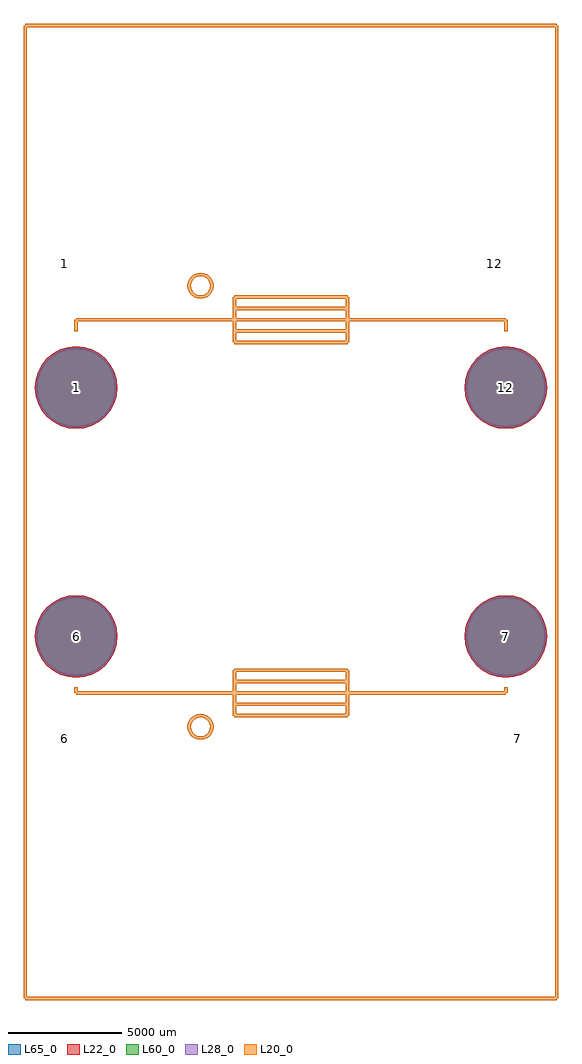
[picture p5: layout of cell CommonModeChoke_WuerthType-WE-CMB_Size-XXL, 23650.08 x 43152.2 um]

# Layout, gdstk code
import gdstk
lib = gdstk.Library(unit=1e-6, precision=1e-09)
def P(c, l, *ps):  # polygons
    for p in ps: c.add(gdstk.Polygon(p, *l))
L20_0 = (20, 0)
L22_0 = (22, 0)
L28_0 = (28, 0)
L60_0 = (60, 0)
L65_0 = (65, 0)

commonmodechoke_wuerthty = lib.new_cell('CommonModeChoke_WuerthType-WE-CMB_Size-XXL')
P(commonmodechoke_wuerthty, L22_0, [(-7674.54,5499.1),(-7709.608,5855.152),(-7813.464,6197.52),(-7982.118,6513.049),(-8209.088,6789.612),(-8485.651,7016.582),(-8801.18,7185.236),(-9143.548,7289.092),(-9499.6,7324.16),(-9855.652,7289.092),(-10198.02,7185.236),(-10513.549,7016.582),(-10790.112,6789.612),(-11017.082,6513.049),(-11185.736,6197.52),(-11289.592,5855.152),(-11324.66,5499.1),(-11289.592,5143.048),(-11185.736,4800.68),(-11017.082,4485.151),(-10790.112,4208.588),(-10513.549,3981.618),(-10198.02,3812.964),(-9855.652,3709.108),(-9499.6,3674.04),(-9143.548,3709.108),(-8801.18,3812.964),(-8485.651,3981.618),(-8209.088,4208.588),(-7982.118,4485.151),(-7813.464,4800.68),(-7709.608,5143.048)],
  [(11324.66,5499.1),(11289.592,5855.152),(11185.736,6197.52),(11017.082,6513.049),(10790.112,6789.612),(10513.549,7016.582),(10198.02,7185.236),(9855.652,7289.092),(9499.6,7324.16),(9143.548,7289.092),(8801.18,7185.236),(8485.651,7016.582),(8209.088,6789.612),(7982.118,6513.049),(7813.464,6197.52),(7709.608,5855.152),(7674.54,5499.1),(7709.608,5143.048),(7813.464,4800.68),(7982.118,4485.151),(8209.088,4208.588),(8485.651,3981.618),(8801.18,3812.964),(9143.548,3709.108),(9499.6,3674.04),(9855.652,3709.108),(10198.02,3812.964),(10513.549,3981.618),(10790.112,4208.588),(11017.082,4485.151),(11185.736,4800.68),(11289.592,5143.048)],
  [(11324.66,-5499.1),(11289.592,-5143.048),(11185.736,-4800.68),(11017.082,-4485.151),(10790.112,-4208.588),(10513.549,-3981.618),(10198.02,-3812.964),(9855.652,-3709.108),(9499.6,-3674.04),(9143.548,-3709.108),(8801.18,-3812.964),(8485.651,-3981.618),(8209.088,-4208.588),(7982.118,-4485.151),(7813.464,-4800.68),(7709.608,-5143.048),(7674.54,-5499.1),(7709.608,-5855.152),(7813.464,-6197.52),(7982.118,-6513.049),(8209.088,-6789.612),(8485.651,-7016.582),(8801.18,-7185.236),(9143.548,-7289.092),(9499.6,-7324.16),(9855.652,-7289.092),(10198.02,-7185.236),(10513.549,-7016.582),(10790.112,-6789.612),(11017.082,-6513.049),(11185.736,-6197.52),(11289.592,-5855.152)],
  [(-7674.54,-5499.1),(-7709.608,-5143.048),(-7813.464,-4800.68),(-7982.118,-4485.151),(-8209.088,-4208.588),(-8485.651,-3981.618),(-8801.18,-3812.964),(-9143.548,-3709.108),(-9499.6,-3674.04),(-9855.652,-3709.108),(-10198.02,-3812.964),(-10513.549,-3981.618),(-10790.112,-4208.588),(-11017.082,-4485.151),(-11185.736,-4800.68),(-11289.592,-5143.048),(-11324.66,-5499.1),(-11289.592,-5855.152),(-11185.736,-6197.52),(-11017.082,-6513.049),(-10790.112,-6789.612),(-10513.549,-7016.582),(-10198.02,-7185.236),(-9855.652,-7289.092),(-9499.6,-7324.16),(-9143.548,-7289.092),(-8801.18,-7185.236),(-8485.651,-7016.582),(-8209.088,-6789.612),(-7982.118,-6513.049),(-7813.464,-6197.52),(-7709.608,-5855.152)])
P(commonmodechoke_wuerthty, L28_0, [(-7749.54,5499.1),(-7783.167,5840.52),(-7882.755,6168.819),(-8044.478,6471.381),(-8262.121,6736.579),(-8527.319,6954.222),(-8829.881,7115.945),(-9158.18,7215.533),(-9499.6,7249.16),(-9841.02,7215.533),(-10169.319,7115.945),(-10471.881,6954.222),(-10737.079,6736.579),(-10954.722,6471.381),(-11116.445,6168.819),(-11216.033,5840.52),(-11249.66,5499.1),(-11216.033,5157.68),(-11116.445,4829.381),(-10954.722,4526.819),(-10737.079,4261.621),(-10471.881,4043.978),(-10169.319,3882.255),(-9841.02,3782.667),(-9499.6,3749.04),(-9158.18,3782.667),(-8829.881,3882.255),(-8527.319,4043.978),(-8262.121,4261.621),(-8044.478,4526.819),(-7882.755,4829.381),(-7783.167,5157.68)],
  [(11249.66,5499.1),(11216.033,5840.52),(11116.445,6168.819),(10954.722,6471.381),(10737.079,6736.579),(10471.881,6954.222),(10169.319,7115.945),(9841.02,7215.533),(9499.6,7249.16),(9158.18,7215.533),(8829.881,7115.945),(8527.319,6954.222),(8262.121,6736.579),(8044.478,6471.381),(7882.755,6168.819),(7783.167,5840.52),(7749.54,5499.1),(7783.167,5157.68),(7882.755,4829.381),(8044.478,4526.819),(8262.121,4261.621),(8527.319,4043.978),(8829.881,3882.255),(9158.18,3782.667),(9499.6,3749.04),(9841.02,3782.667),(10169.319,3882.255),(10471.881,4043.978),(10737.079,4261.621),(10954.722,4526.819),(11116.445,4829.381),(11216.033,5157.68)],
  [(11249.66,-5499.1),(11216.033,-5157.68),(11116.445,-4829.381),(10954.722,-4526.819),(10737.079,-4261.621),(10471.881,-4043.978),(10169.319,-3882.255),(9841.02,-3782.667),(9499.6,-3749.04),(9158.18,-3782.667),(8829.881,-3882.255),(8527.319,-4043.978),(8262.121,-4261.621),(8044.478,-4526.819),(7882.755,-4829.381),(7783.167,-5157.68),(7749.54,-5499.1),(7783.167,-5840.52),(7882.755,-6168.819),(8044.478,-6471.381),(8262.121,-6736.579),(8527.319,-6954.222),(8829.881,-7115.945),(9158.18,-7215.533),(9499.6,-7249.16),(9841.02,-7215.533),(10169.319,-7115.945),(10471.881,-6954.222),(10737.079,-6736.579),(10954.722,-6471.381),(11116.445,-6168.819),(11216.033,-5840.52)],
  [(-7749.54,-5499.1),(-7783.167,-5157.68),(-7882.755,-4829.381),(-8044.478,-4526.819),(-8262.121,-4261.621),(-8527.319,-4043.978),(-8829.881,-3882.255),(-9158.18,-3782.667),(-9499.6,-3749.04),(-9841.02,-3782.667),(-10169.319,-3882.255),(-10471.881,-4043.978),(-10737.079,-4261.621),(-10954.722,-4526.819),(-11116.445,-4829.381),(-11216.033,-5157.68),(-11249.66,-5499.1),(-11216.033,-5840.52),(-11116.445,-6168.819),(-10954.722,-6471.381),(-10737.079,-6736.579),(-10471.881,-6954.222),(-10169.319,-7115.945),(-9841.02,-7215.533),(-9499.6,-7249.16),(-9158.18,-7215.533),(-8829.881,-7115.945),(-8527.319,-6954.222),(-8262.121,-6736.579),(-8044.478,-6471.381),(-7882.755,-6168.819),(-7783.167,-5840.52)])
P(commonmodechoke_wuerthty, L60_0, [(-7749.54,5499.1),(-7783.167,5840.52),(-7882.755,6168.819),(-8044.478,6471.381),(-8262.121,6736.579),(-8527.319,6954.222),(-8829.881,7115.945),(-9158.18,7215.533),(-9499.6,7249.16),(-9841.02,7215.533),(-10169.319,7115.945),(-10471.881,6954.222),(-10737.079,6736.579),(-10954.722,6471.381),(-11116.445,6168.819),(-11216.033,5840.52),(-11249.66,5499.1),(-11216.033,5157.68),(-11116.445,4829.381),(-10954.722,4526.819),(-10737.079,4261.621),(-10471.881,4043.978),(-10169.319,3882.255),(-9841.02,3782.667),(-9499.6,3749.04),(-9158.18,3782.667),(-8829.881,3882.255),(-8527.319,4043.978),(-8262.121,4261.621),(-8044.478,4526.819),(-7882.755,4829.381),(-7783.167,5157.68)],
  [(11249.66,5499.1),(11216.033,5840.52),(11116.445,6168.819),(10954.722,6471.381),(10737.079,6736.579),(10471.881,6954.222),(10169.319,7115.945),(9841.02,7215.533),(9499.6,7249.16),(9158.18,7215.533),(8829.881,7115.945),(8527.319,6954.222),(8262.121,6736.579),(8044.478,6471.381),(7882.755,6168.819),(7783.167,5840.52),(7749.54,5499.1),(7783.167,5157.68),(7882.755,4829.381),(8044.478,4526.819),(8262.121,4261.621),(8527.319,4043.978),(8829.881,3882.255),(9158.18,3782.667),(9499.6,3749.04),(9841.02,3782.667),(10169.319,3882.255),(10471.881,4043.978),(10737.079,4261.621),(10954.722,4526.819),(11116.445,4829.381),(11216.033,5157.68)],
  [(11249.66,-5499.1),(11216.033,-5157.68),(11116.445,-4829.381),(10954.722,-4526.819),(10737.079,-4261.621),(10471.881,-4043.978),(10169.319,-3882.255),(9841.02,-3782.667),(9499.6,-3749.04),(9158.18,-3782.667),(8829.881,-3882.255),(8527.319,-4043.978),(8262.121,-4261.621),(8044.478,-4526.819),(7882.755,-4829.381),(7783.167,-5157.68),(7749.54,-5499.1),(7783.167,-5840.52),(7882.755,-6168.819),(8044.478,-6471.381),(8262.121,-6736.579),(8527.319,-6954.222),(8829.881,-7115.945),(9158.18,-7215.533),(9499.6,-7249.16),(9841.02,-7215.533),(10169.319,-7115.945),(10471.881,-6954.222),(10737.079,-6736.579),(10954.722,-6471.381),(11116.445,-6168.819),(11216.033,-5840.52)],
  [(-7749.54,-5499.1),(-7783.167,-5157.68),(-7882.755,-4829.381),(-8044.478,-4526.819),(-8262.121,-4261.621),(-8527.319,-4043.978),(-8829.881,-3882.255),(-9158.18,-3782.667),(-9499.6,-3749.04),(-9841.02,-3782.667),(-10169.319,-3882.255),(-10471.881,-4043.978),(-10737.079,-4261.621),(-10954.722,-4526.819),(-11116.445,-4829.381),(-11216.033,-5157.68),(-11249.66,-5499.1),(-11216.033,-5840.52),(-11116.445,-6168.819),(-10954.722,-6471.381),(-10737.079,-6736.579),(-10471.881,-6954.222),(-10169.319,-7115.945),(-9841.02,-7215.533),(-9499.6,-7249.16),(-9158.18,-7215.533),(-8829.881,-7115.945),(-8527.319,-6954.222),(-8262.121,-6736.579),(-8044.478,-6471.381),(-7882.755,-6168.819),(-7783.167,-5840.52)])
P(commonmodechoke_wuerthty, L65_0, [(-7674.54,5499.1),(-7709.608,5855.152),(-7813.464,6197.52),(-7982.118,6513.049),(-8209.088,6789.612),(-8485.651,7016.582),(-8801.18,7185.236),(-9143.548,7289.092),(-9499.6,7324.16),(-9855.652,7289.092),(-10198.02,7185.236),(-10513.549,7016.582),(-10790.112,6789.612),(-11017.082,6513.049),(-11185.736,6197.52),(-11289.592,5855.152),(-11324.66,5499.1),(-11289.592,5143.048),(-11185.736,4800.68),(-11017.082,4485.151),(-10790.112,4208.588),(-10513.549,3981.618),(-10198.02,3812.964),(-9855.652,3709.108),(-9499.6,3674.04),(-9143.548,3709.108),(-8801.18,3812.964),(-8485.651,3981.618),(-8209.088,4208.588),(-7982.118,4485.151),(-7813.464,4800.68),(-7709.608,5143.048)],
  [(11324.66,5499.1),(11289.592,5855.152),(11185.736,6197.52),(11017.082,6513.049),(10790.112,6789.612),(10513.549,7016.582),(10198.02,7185.236),(9855.652,7289.092),(9499.6,7324.16),(9143.548,7289.092),(8801.18,7185.236),(8485.651,7016.582),(8209.088,6789.612),(7982.118,6513.049),(7813.464,6197.52),(7709.608,5855.152),(7674.54,5499.1),(7709.608,5143.048),(7813.464,4800.68),(7982.118,4485.151),(8209.088,4208.588),(8485.651,3981.618),(8801.18,3812.964),(9143.548,3709.108),(9499.6,3674.04),(9855.652,3709.108),(10198.02,3812.964),(10513.549,3981.618),(10790.112,4208.588),(11017.082,4485.151),(11185.736,4800.68),(11289.592,5143.048)],
  [(11324.66,-5499.1),(11289.592,-5143.048),(11185.736,-4800.68),(11017.082,-4485.151),(10790.112,-4208.588),(10513.549,-3981.618),(10198.02,-3812.964),(9855.652,-3709.108),(9499.6,-3674.04),(9143.548,-3709.108),(8801.18,-3812.964),(8485.651,-3981.618),(8209.088,-4208.588),(7982.118,-4485.151),(7813.464,-4800.68),(7709.608,-5143.048),(7674.54,-5499.1),(7709.608,-5855.152),(7813.464,-6197.52),(7982.118,-6513.049),(8209.088,-6789.612),(8485.651,-7016.582),(8801.18,-7185.236),(9143.548,-7289.092),(9499.6,-7324.16),(9855.652,-7289.092),(10198.02,-7185.236),(10513.549,-7016.582),(10790.112,-6789.612),(11017.082,-6513.049),(11185.736,-6197.52),(11289.592,-5855.152)],
  [(-7674.54,-5499.1),(-7709.608,-5143.048),(-7813.464,-4800.68),(-7982.118,-4485.151),(-8209.088,-4208.588),(-8485.651,-3981.618),(-8801.18,-3812.964),(-9143.548,-3709.108),(-9499.6,-3674.04),(-9855.652,-3709.108),(-10198.02,-3812.964),(-10513.549,-3981.618),(-10790.112,-4208.588),(-11017.082,-4485.151),(-11185.736,-4800.68),(-11289.592,-5143.048),(-11324.66,-5499.1),(-11289.592,-5855.152),(-11185.736,-6197.52),(-11017.082,-6513.049),(-10790.112,-6789.612),(-10513.549,-7016.582),(-10198.02,-7185.236),(-9855.652,-7289.092),(-9499.6,-7324.16),(-9143.548,-7289.092),(-8801.18,-7185.236),(-8485.651,-7016.582),(-8209.088,-6789.612),(-7982.118,-6513.049),(-7813.464,-6197.52),(-7709.608,-5855.152)])
commonmodechoke_wuerthty.add(gdstk.FlexPath([(-2499.36,9502.14),(0,9502.14)], 149.998, ends="flush", simple_path=True, layer=20, datatype=0))  # L20_0
commonmodechoke_wuerthty.add(gdstk.FlexPath([(-2499.36,7500.62),(-2499.36,9502.14)], 149.998, ends="flush", simple_path=True, layer=20, datatype=0))  # L20_0
commonmodechoke_wuerthty.add(gdstk.FlexPath([(-2499.36,8501.38),(-5001.26,8501.38)], 149.998, ends="flush", simple_path=True, layer=20, datatype=0))  # L20_0
commonmodechoke_wuerthty.add(gdstk.FlexPath([(2499.36,7500.62),(-2499.36,7500.62)], 149.998, ends="flush", simple_path=True, layer=20, datatype=0))  # L20_0
commonmodechoke_wuerthty.add(gdstk.FlexPath([(2499.36,9502.14),(2499.36,7500.62)], 149.998, ends="flush", simple_path=True, layer=20, datatype=0))  # L20_0
commonmodechoke_wuerthty.add(gdstk.FlexPath([(0,9502.14),(2499.36,9502.14)], 149.998, ends="flush", simple_path=True, layer=20, datatype=0))  # L20_0
commonmodechoke_wuerthty.add(gdstk.FlexPath([(-2499.36,8501.38),(2499.36,8501.38)], 149.998, ends="flush", simple_path=True, layer=20, datatype=0))  # L20_0
commonmodechoke_wuerthty.add(gdstk.FlexPath([(2499.36,9001.76),(-2499.36,9001.76)], 149.998, ends="flush", simple_path=True, layer=20, datatype=0))  # L20_0
commonmodechoke_wuerthty.add(gdstk.FlexPath([(-2499.36,8001),(2499.36,8001)], 149.998, ends="flush", simple_path=True, layer=20, datatype=0))  # L20_0
commonmodechoke_wuerthty.add(gdstk.FlexPath([(2499.36,8501.38),(5001.26,8501.38)], 149.998, ends="flush", simple_path=True, layer=20, datatype=0))  # L20_0
commonmodechoke_wuerthty.add(gdstk.FlexPath([(2499.36,-6997.7),(2499.36,-8999.22)], 149.998, ends="flush", simple_path=True, layer=20, datatype=0))  # L20_0
commonmodechoke_wuerthty.add(gdstk.FlexPath([(-2499.36,-6997.7),(2499.36,-6997.7)], 149.998, ends="flush", simple_path=True, layer=20, datatype=0))  # L20_0
commonmodechoke_wuerthty.add(gdstk.FlexPath([(-2499.36,-8999.22),(-2499.36,-6997.7)], 149.998, ends="flush", simple_path=True, layer=20, datatype=0))  # L20_0
commonmodechoke_wuerthty.add(gdstk.FlexPath([(2499.36,-8999.22),(-2499.36,-8999.22)], 149.998, ends="flush", simple_path=True, layer=20, datatype=0))  # L20_0
commonmodechoke_wuerthty.add(gdstk.FlexPath([(5001.26,-7998.46),(2499.36,-7998.46)], 149.998, ends="flush", simple_path=True, layer=20, datatype=0))  # L20_0
commonmodechoke_wuerthty.add(gdstk.FlexPath([(-5001.26,-7998.46),(-2499.36,-7998.46)], 149.998, ends="flush", simple_path=True, layer=20, datatype=0))  # L20_0
commonmodechoke_wuerthty.add(gdstk.FlexPath([(2499.36,-7498.08),(-2499.36,-7498.08)], 149.998, ends="flush", simple_path=True, layer=20, datatype=0))  # L20_0
commonmodechoke_wuerthty.add(gdstk.FlexPath([(-2499.36,-8498.84),(2499.36,-8498.84)], 149.998, ends="flush", simple_path=True, layer=20, datatype=0))  # L20_0
commonmodechoke_wuerthty.add(gdstk.FlexPath([(2499.36,-7998.46),(-2499.36,-7998.46)], 149.998, ends="flush", simple_path=True, layer=20, datatype=0))  # L20_0
commonmodechoke_wuerthty.add(gdstk.FlexPath([(-3500.12,10002.52),(-3517.17,10132.028),(-3567.158,10252.71),(-3646.678,10356.342),(-3750.31,10435.862),(-3870.992,10485.85),(-4000.5,10502.9),(-4130.008,10485.85),(-4250.69,10435.862),(-4354.322,10356.342),(-4433.842,10252.71),(-4483.83,10132.028),(-4500.88,10002.52),(-4483.83,9873.012),(-4433.842,9752.33),(-4354.322,9648.698),(-4250.69,9569.178),(-4130.008,9519.19),(-4000.5,9502.14),(-3870.992,9519.19),(-3750.31,9569.178),(-3646.678,9648.698),(-3567.158,9752.33),(-3517.17,9873.012),(-3500.12,10002.52)], 149.998, ends="flush", simple_path=True, layer=20, datatype=0))  # L20_0
commonmodechoke_wuerthty.add(gdstk.FlexPath([(-3500.12,-9499.6),(-3517.17,-9370.092),(-3567.158,-9249.41),(-3646.678,-9145.778),(-3750.31,-9066.258),(-3870.992,-9016.27),(-4000.5,-8999.22),(-4130.008,-9016.27),(-4250.69,-9066.258),(-4354.322,-9145.778),(-4433.842,-9249.41),(-4483.83,-9370.092),(-4500.88,-9499.6),(-4483.83,-9629.108),(-4433.842,-9749.79),(-4354.322,-9853.422),(-4250.69,-9932.942),(-4130.008,-9982.93),(-4000.5,-9999.98),(-3870.992,-9982.93),(-3750.31,-9932.942),(-3646.678,-9853.422),(-3567.158,-9749.79),(-3517.17,-9629.108),(-3500.12,-9499.6)], 149.998, ends="flush", simple_path=True, layer=20, datatype=0))  # L20_0
commonmodechoke_wuerthty.add(gdstk.FlexPath([(5001.26,8498.84),(5999.48,8498.84)], 149.998, ends="flush", simple_path=True, layer=20, datatype=0))  # L20_0
commonmodechoke_wuerthty.add(gdstk.FlexPath([(-5001.26,8498.84),(-5999.48,8498.84)], 149.998, ends="flush", simple_path=True, layer=20, datatype=0))  # L20_0
commonmodechoke_wuerthty.add(gdstk.FlexPath([(-5001.26,-8001),(-5999.48,-8001)], 149.998, ends="flush", simple_path=True, layer=20, datatype=0))  # L20_0
commonmodechoke_wuerthty.add(gdstk.FlexPath([(5999.48,8498.84),(7500.62,8498.84)], 149.998, ends="flush", simple_path=True, layer=20, datatype=0))  # L20_0
commonmodechoke_wuerthty.add(gdstk.FlexPath([(-5999.48,8498.84),(-7500.62,8498.84)], 149.998, ends="flush", simple_path=True, layer=20, datatype=0))  # L20_0
commonmodechoke_wuerthty.add(gdstk.FlexPath([(5001.26,-8001),(7500.62,-8001)], 149.998, ends="flush", simple_path=True, layer=20, datatype=0))  # L20_0
commonmodechoke_wuerthty.add(gdstk.FlexPath([(-5999.48,-8001),(-7500.62,-8001)], 149.998, ends="flush", simple_path=True, layer=20, datatype=0))  # L20_0
commonmodechoke_wuerthty.add(gdstk.FlexPath([(11750.04,-21501.1),(11750.04,21501.1)], 149.998, ends="flush", simple_path=True, layer=20, datatype=0))  # L20_0
commonmodechoke_wuerthty.add(gdstk.FlexPath([(-11750.04,-21501.1),(11750.04,-21501.1)], 149.998, ends="flush", simple_path=True, layer=20, datatype=0))  # L20_0
commonmodechoke_wuerthty.add(gdstk.FlexPath([(-11750.04,21501.1),(-11750.04,-21501.1)], 149.998, ends="flush", simple_path=True, layer=20, datatype=0))  # L20_0
commonmodechoke_wuerthty.add(gdstk.FlexPath([(11750.04,21501.1),(-11750.04,21501.1)], 149.998, ends="flush", simple_path=True, layer=20, datatype=0))  # L20_0
commonmodechoke_wuerthty.add(gdstk.FlexPath([(9499.6,8498.84),(9499.6,8001)], 149.998, ends="flush", simple_path=True, layer=20, datatype=0))  # L20_0
commonmodechoke_wuerthty.add(gdstk.FlexPath([(7500.62,8498.84),(9499.6,8498.84)], 149.998, ends="flush", simple_path=True, layer=20, datatype=0))  # L20_0
commonmodechoke_wuerthty.add(gdstk.FlexPath([(-9499.6,8498.84),(-9499.6,8001)], 149.998, ends="flush", simple_path=True, layer=20, datatype=0))  # L20_0
commonmodechoke_wuerthty.add(gdstk.FlexPath([(-7500.62,8498.84),(-9499.6,8498.84)], 149.998, ends="flush", simple_path=True, layer=20, datatype=0))  # L20_0
commonmodechoke_wuerthty.add(gdstk.FlexPath([(-9499.6,-8001),(-9499.6,-7749.54)], 149.998, ends="flush", simple_path=True, layer=20, datatype=0))  # L20_0
commonmodechoke_wuerthty.add(gdstk.FlexPath([(-7500.62,-8001),(-9499.6,-8001)], 149.998, ends="flush", simple_path=True, layer=20, datatype=0))  # L20_0
commonmodechoke_wuerthty.add(gdstk.FlexPath([(9499.6,-8001),(9499.6,-7749.54)], 149.998, ends="flush", simple_path=True, layer=20, datatype=0))  # L20_0
commonmodechoke_wuerthty.add(gdstk.FlexPath([(7500.62,-8001),(9499.6,-8001)], 149.998, ends="flush", simple_path=True, layer=20, datatype=0))  # L20_0
commonmodechoke_wuerthty.add(gdstk.Label('1', (-9499.6,5499.1), layer=28, texttype=0))
commonmodechoke_wuerthty.add(gdstk.Label('12', (9499.6,5499.1), layer=28, texttype=0))
commonmodechoke_wuerthty.add(gdstk.Label('7', (9499.6,-5499.1), layer=28, texttype=0))
commonmodechoke_wuerthty.add(gdstk.Label('6', (-9499.6,-5499.1), layer=28, texttype=0))
commonmodechoke_wuerthty.add(gdstk.Label('1', (-9999.98,11000.74), layer=9, texttype=0))
commonmodechoke_wuerthty.add(gdstk.Label('12', (8999.22,11000.74), layer=9, texttype=0))
commonmodechoke_wuerthty.add(gdstk.Label('6', (-9999.98,-9999.98), layer=9, texttype=0))
commonmodechoke_wuerthty.add(gdstk.Label('7', (9999.98,-9999.98), layer=9, texttype=0))
commonmodechoke_wuerthty.add(gdstk.Label('type', (0,-24000.46), layer=9, texttype=0))
commonmodechoke_wuerthty.add(gdstk.Label('devicename', (0,24000.46), layer=9, texttype=0))

lib.write_gds('CommonModeChoke_WuerthType-WE-CMB_Size-XXL.gds')
